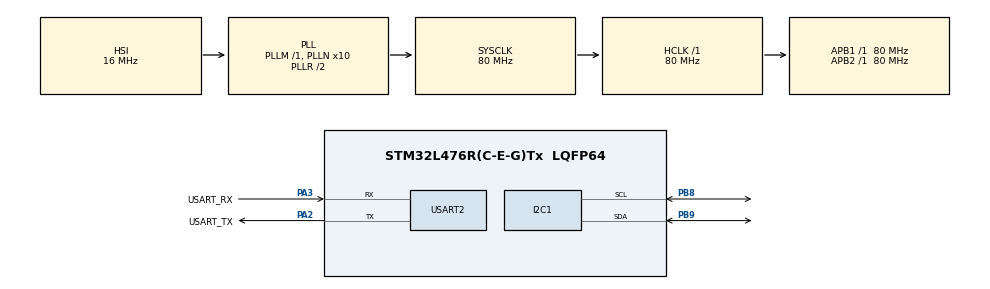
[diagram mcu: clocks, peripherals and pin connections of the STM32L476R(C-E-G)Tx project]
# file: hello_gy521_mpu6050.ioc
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Mcu.Family=STM32L4
RCC.MSI_VALUE=4000000
RCC.PLLSourceVirtual=RCC_PLLSOURCE_HSI
PA14\ (JTCK-SWCLK).Mode=Serial_Wire
PA2.GPIO_PuPd=GPIO_NOPULL
VP_SYS_VS_tim6.Mode=TIM6
RCC.CortexFreq_Value=80000000
FREERTOS.Tasks01=defaultTask,24,128,StartDefaultTask,Default,NULL,Dynamic,NULL,NULL
NVIC.TIM6_DAC_IRQn=true\:0\:0\:false\:false\:true\:false\:false\:true
PH0-OSC_IN\ (PH0).Signal=RCC_OSC_IN
PA3.GPIO_PuPd=GPIO_NOPULL
PA2.GPIO_Speed=GPIO_SPEED_FREQ_VERY_HIGH
PC15-OSC32_OUT\ (PC15).Signal=RCC_OSC32_OUT
PB3\ (JTDO-TRACESWO).GPIO_Label=SWO
PA14\ (JTCK-SWCLK).GPIO_Label=TCK
PC15-OSC32_OUT\ (PC15).Mode=LSE-External-Oscillator
PA3.GPIO_Speed=GPIO_SPEED_FREQ_VERY_HIGH
PH1-OSC_OUT\ (PH1).Signal=RCC_OSC_OUT
RCC.SYSCLKSource=RCC_SYSCLKSOURCE_PLLCLK
ProjectManager.StackSize=0x400
PB3\ (JTDO-TRACESWO).Signal=SYS_JTDO-SWO
PC14-OSC32_IN\ (PC14).Mode=LSE-External-Oscillator
VP_FREERTOS_VS_CMSIS_V2.Mode=CMSIS_V2
PA14\ (JTCK-SWCLK).Signal=SYS_JTCK-SWCLK
PA3.Mode=Asynchronous
ProjectManager.TargetToolchain=STM32CubeIDE
PA3.GPIO_Mode=GPIO_MODE_AF_PP
RCC.HCLKFreq_Value=80000000
PB9.Mode=I2C
RCC.APB2TimFreq_Value=80000000
I2C1.Timing=0x10909CEC
RCC.USBFreq_Value=64000000
RCC.AHBFreq_Value=80000000
RCC.PREFETCH_ENABLE=1
RCC.HSE_VALUE=8000000
board=NUCLEO-L476RG
USART2.VirtualMode-Asynchronous=VM_ASYNC
RCC.VCOOutputFreq_Value=160000000
RCC.APB2Freq_Value=80000000
PA13\ (JTMS-SWDIO).GPIO_Label=TMS
RCC.ADCFreq_Value=64000000
Mcu.Name=STM32L476R(C-E-G)Tx
PA2.Signal=USART2_TX
PA13\ (JTMS-SWDIO).Mode=Serial_Wire
RCC.SYSCLKFreq_VALUE=80000000
Mcu.Package=LQFP64
PB9.Signal=I2C1_SDA
NVIC.TimeBase=TIM6_DAC_IRQn
PC14-OSC32_IN\ (PC14).Signal=RCC_OSC32_IN
PA2.GPIO_Label=USART_TX
NVIC.TimeBaseIP=TIM6
ProjectManager.HeapSize=0x200
RCC.HSI_VALUE=16000000
NVIC.PriorityGroup=NVIC_PRIORITYGROUP_4
PB8.Mode=I2C
RCC.PLLN=10
RCC.APB1TimFreq_Value=80000000
PA2.Mode=Asynchronous
PB8.Signal=I2C1_SCL
PA13\ (JTMS-SWDIO).Signal=SYS_JTMS-SWDIO
RCC.APB1Freq_Value=80000000
PA3.GPIO_Label=USART_RX
PA3.Signal=USART2_RX
PA2.GPIO_Mode=GPIO_MODE_AF_PP

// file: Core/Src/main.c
/* USER CODE BEGIN Header */
/**
  ******************************************************************************
  * @file           : main.c
  * @brief          : Main program body
  ******************************************************************************
  * @attention
  *
  * <h2><center>&copy; Copyright (c) 2021 STMicroelectronics.
  * All rights reserved.</center></h2>
  *
  * This software component is licensed by ST under BSD 3-Clause license,
  * the "License"; You may not use this file except in compliance with the
  * License. You may obtain a copy of the License at:
  *                        opensource.org/licenses/BSD-3-Clause
  *
  ******************************************************************************
  */
/* USER CODE END Header */
#include "main.h"
#include "cmsis_os.h"

/* USER CODE BEGIN Includes */
#include "mpu6050.h"
/* USER CODE END Includes */

/* USER CODE BEGIN PD */
#ifdef __GNUC__
	#define PUTCHAR_PROTOTYPE int __io_putchar(int ch)
#else
	#define PUTCHAR_PROTOTYPE int fputc(int ch, FILE *f)
#endif /* __GNUC__ */
/* USER CODE END PD */

I2C_HandleTypeDef hi2c1;

UART_HandleTypeDef huart2;

/* Definitions for defaultTask */
osThreadId_t defaultTaskHandle;
const osThreadAttr_t defaultTask_attributes = {
  .name = "defaultTask",
  .stack_size = 128 * 4,
  .priority = (osPriority_t) osPriorityNormal,
};
/* USER CODE BEGIN PV */
MPU6050Handle_t mpu6050;
MPU6050ConfigHandle_t mpu6050Config;
/* USER CODE END PV */

void SystemClock_Config(void);
static void MX_GPIO_Init(void);
static void MX_USART2_UART_Init(void);
static void MX_I2C1_Init(void);
void StartDefaultTask(void *argument);

/* USER CODE BEGIN 0 */
PUTCHAR_PROTOTYPE
{
	HAL_UART_Transmit(&huart2, (uint8_t *)&ch, 1, pdMS_TO_TICKS(1000));
	return ch;
}
/* USER CODE END 0 */

int main(void)
{

  /* MCU Configuration--------------------------------------------------------*/

  /* Reset of all peripherals, Initializes the Flash interface and the Systick. */
  HAL_Init();

  /* Configure the system clock */
  SystemClock_Config();

  /* Initialize all configured peripherals */
  MX_GPIO_Init();
  MX_USART2_UART_Init();
  MX_I2C1_Init();
  /* USER CODE BEGIN 2 */
  mpu6050Config.ucClockSource = 0x00;
  mpu6050Config.ucGyroFullScale = 0x01;
  mpu6050Config.ucAcellFullScale = 0x03;//0x01;
  mpu6050Config.ucConfigDLPF= 0x06;
  mpu6050Config.ucSleepMode = 0x00;

  MPU6050_I2C_vInit(&mpu6050, &hi2c1, &mpu6050Config);
  /* USER CODE END 2 */

  /* Init scheduler */
  osKernelInitialize();

  /* Create the thread(s) */
  /* creation of defaultTask */
  defaultTaskHandle = osThreadNew(StartDefaultTask, NULL, &defaultTask_attributes);

  /* Start scheduler */
  osKernelStart();

  /* We should never get here as control is now taken by the scheduler */
  /* Infinite loop */
  while (1)
  {

  }
}

void SystemClock_Config(void)
{
  RCC_OscInitTypeDef RCC_OscInitStruct = {0};
  RCC_ClkInitTypeDef RCC_ClkInitStruct = {0};
  RCC_PeriphCLKInitTypeDef PeriphClkInit = {0};

  /** Initializes the RCC Oscillators according to the specified parameters
  * in the RCC_OscInitTypeDef structure.
  */
  RCC_OscInitStruct.OscillatorType = RCC_OSCILLATORTYPE_HSI;
  RCC_OscInitStruct.HSIState = RCC_HSI_ON;
  RCC_OscInitStruct.HSICalibrationValue = RCC_HSICALIBRATION_DEFAULT;
  RCC_OscInitStruct.PLL.PLLState = RCC_PLL_ON;
  RCC_OscInitStruct.PLL.PLLSource = RCC_PLLSOURCE_HSI;
  RCC_OscInitStruct.PLL.PLLM = 1;
  RCC_OscInitStruct.PLL.PLLN = 10;
  RCC_OscInitStruct.PLL.PLLP = RCC_PLLP_DIV7;
  RCC_OscInitStruct.PLL.PLLQ = RCC_PLLQ_DIV2;
  RCC_OscInitStruct.PLL.PLLR = RCC_PLLR_DIV2;
  if (HAL_RCC_OscConfig(&RCC_OscInitStruct) != HAL_OK)
  {
    Error_Handler();
  }
  /** Initializes the CPU, AHB and APB buses clocks
  */
  RCC_ClkInitStruct.ClockType = RCC_CLOCKTYPE_HCLK|RCC_CLOCKTYPE_SYSCLK
                              |RCC_CLOCKTYPE_PCLK1|RCC_CLOCKTYPE_PCLK2;
  RCC_ClkInitStruct.SYSCLKSource = RCC_SYSCLKSOURCE_PLLCLK;
  RCC_ClkInitStruct.AHBCLKDivider = RCC_SYSCLK_DIV1;
  RCC_ClkInitStruct.APB1CLKDivider = RCC_HCLK_DIV1;
  RCC_ClkInitStruct.APB2CLKDivider = RCC_HCLK_DIV1;

  if (HAL_RCC_ClockConfig(&RCC_ClkInitStruct, FLASH_LATENCY_4) != HAL_OK)
  {
    Error_Handler();
  }
  PeriphClkInit.PeriphClockSelection = RCC_PERIPHCLK_USART2|RCC_PERIPHCLK_I2C1;
  PeriphClkInit.Usart2ClockSelection = RCC_USART2CLKSOURCE_PCLK1;
  PeriphClkInit.I2c1ClockSelection = RCC_I2C1CLKSOURCE_PCLK1;
  if (HAL_RCCEx_PeriphCLKConfig(&PeriphClkInit) != HAL_OK)
  {
    Error_Handler();
  }
  /** Configure the main internal regulator output voltage
  */
  if (HAL_PWREx_ControlVoltageScaling(PWR_REGULATOR_VOLTAGE_SCALE1) != HAL_OK)
  {
    Error_Handler();
  }
}

static void MX_I2C1_Init(void)
{

  hi2c1.Instance = I2C1;
  hi2c1.Init.Timing = 0x10909CEC;
  hi2c1.Init.OwnAddress1 = 0;
  hi2c1.Init.AddressingMode = I2C_ADDRESSINGMODE_7BIT;
  hi2c1.Init.DualAddressMode = I2C_DUALADDRESS_DISABLE;
  hi2c1.Init.OwnAddress2 = 0;
  hi2c1.Init.OwnAddress2Masks = I2C_OA2_NOMASK;
  hi2c1.Init.GeneralCallMode = I2C_GENERALCALL_DISABLE;
  hi2c1.Init.NoStretchMode = I2C_NOSTRETCH_DISABLE;
  if (HAL_I2C_Init(&hi2c1) != HAL_OK)
  {
    Error_Handler();
  }
  /** Configure Analogue filter
  */
  if (HAL_I2CEx_ConfigAnalogFilter(&hi2c1, I2C_ANALOGFILTER_ENABLE) != HAL_OK)
  {
    Error_Handler();
  }
  /** Configure Digital filter
  */
  if (HAL_I2CEx_ConfigDigitalFilter(&hi2c1, 0) != HAL_OK)
  {
    Error_Handler();
  }

}

static void MX_USART2_UART_Init(void)
{

  huart2.Instance = USART2;
  huart2.Init.BaudRate = 115200;
  huart2.Init.WordLength = UART_WORDLENGTH_8B;
  huart2.Init.StopBits = UART_STOPBITS_1;
  huart2.Init.Parity = UART_PARITY_NONE;
  huart2.Init.Mode = UART_MODE_TX_RX;
  huart2.Init.HwFlowCtl = UART_HWCONTROL_NONE;
  huart2.Init.OverSampling = UART_OVERSAMPLING_16;
  huart2.Init.OneBitSampling = UART_ONE_BIT_SAMPLE_DISABLE;
  huart2.AdvancedInit.AdvFeatureInit = UART_ADVFEATURE_NO_INIT;
  if (HAL_UART_Init(&huart2) != HAL_OK)
  {
    Error_Handler();
  }

}

static void MX_GPIO_Init(void)
{

  /* GPIO Ports Clock Enable */
  __HAL_RCC_GPIOC_CLK_ENABLE();
  __HAL_RCC_GPIOH_CLK_ENABLE();
  __HAL_RCC_GPIOA_CLK_ENABLE();
  __HAL_RCC_GPIOB_CLK_ENABLE();

}

void StartDefaultTask(void *argument)
{
  /* USER CODE BEGIN 5 */
  /* Infinite loop */
  for(;;)
  {
  	//printf("Hello, world!\r\n");

  	osDelay(100);
  	//MPU6050_I2C_Debug_vReadWhoAmI(&mpu6050);
  	MPU6050_I2C_Debug_vReadAccelerometer(&mpu6050);
  	//MPU6050_I2C_Debug_vReadGyroscope(&mpu6050);
  	//MPU6050_I2C_Debug_vReadTemperature(&mpu6050);
  }
  /* USER CODE END 5 */
}

 /**
  * @brief  Period elapsed callback in non blocking mode
  * @note   This function is called  when TIM6 interrupt took place, inside
  * HAL_TIM_IRQHandler(). It makes a direct call to HAL_IncTick() to increment
  * a global variable "uwTick" used as application time base.
  * @param  htim : TIM handle
  * @retval None
  */
void HAL_TIM_PeriodElapsedCallback(TIM_HandleTypeDef *htim)
{
  if (htim->Instance == TIM6) {
    HAL_IncTick();
  }
}

void Error_Handler(void)
{
  __disable_irq();
  while (1)
  {
  }
}

/************************ (C) COPYRIGHT STMicroelectronics *****END OF FILE****/
